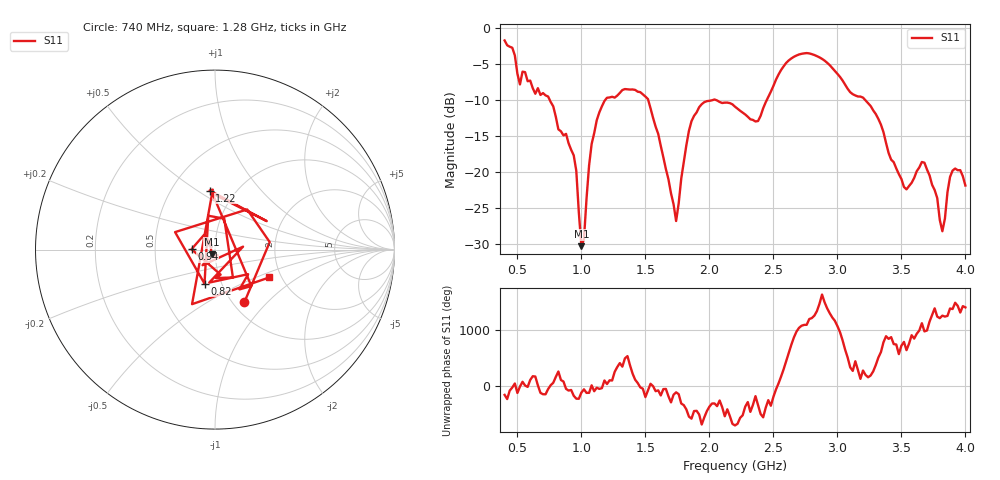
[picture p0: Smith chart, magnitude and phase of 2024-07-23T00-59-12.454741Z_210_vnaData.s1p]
!Created with skrf (http://scikit-rf.org).
# Hz S RI R 50.0
!freq ReS11 ImS11
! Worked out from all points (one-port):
!   181 points, 400 MHz to 4 GHz, reference 50 ohm
!   lowest |S11| = -30.3 dB at 1 GHz (marker M1), VSWR 1.06, Z = 48.3 - j2.46 ohm
!   |S11| at or under -10 dB: 753.7 MHz to 1.184 GHz (430.8 MHz wide, 44.5 % of centre); 1.523 GHz to 2.022 GHz (499.1 MHz wide, 28.2 % of centre); 3.219 GHz to end of sweep (the widest 3 of 4)
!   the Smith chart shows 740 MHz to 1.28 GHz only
!   S11 on the Smith chart (normalised r, x): 740 MHz: 1.13, -0.75; 820 MHz: 0.83, -0.33; 940 MHz: 0.77, +0.00; 1.22 GHz: 0.76, +0.56; 1.28 GHz: 1.74, -0.61
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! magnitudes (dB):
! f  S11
! 400 MHz  -1.7
! 520 MHz  -7.8
! 740 MHz  -9.5
! 820 MHz  -14.0
! 860 MHz  -14.9
! 940 MHz  -17.7
! 960 MHz  -19.8
! 1 GHz  -30.3
! 1.02 GHz  -29.3
! 1.08 GHz  -16.1
! 1.22 GHz  -9.6
! 1.28 GHz  -9.4
! 1.3 GHz  -9.0
! 1.52 GHz  -9.8
! 1.74 GHz  -26.8
! 1.76 GHz  -24.3
! 1.88 GHz  -12.2
! 2.2 GHz  -10.9
! 2.38 GHz  -12.9
! 2.66 GHz  -4.0
! 2.88 GHz  -4.2
! 3.1 GHz  -8.9
! 3.3 GHz  -11.9
! 3.56 GHz  -21.9
! 3.68 GHz  -18.7
! 3.82 GHz  -28.2
! 3.9 GHz  -19.8
! 4 GHz  -21.9
